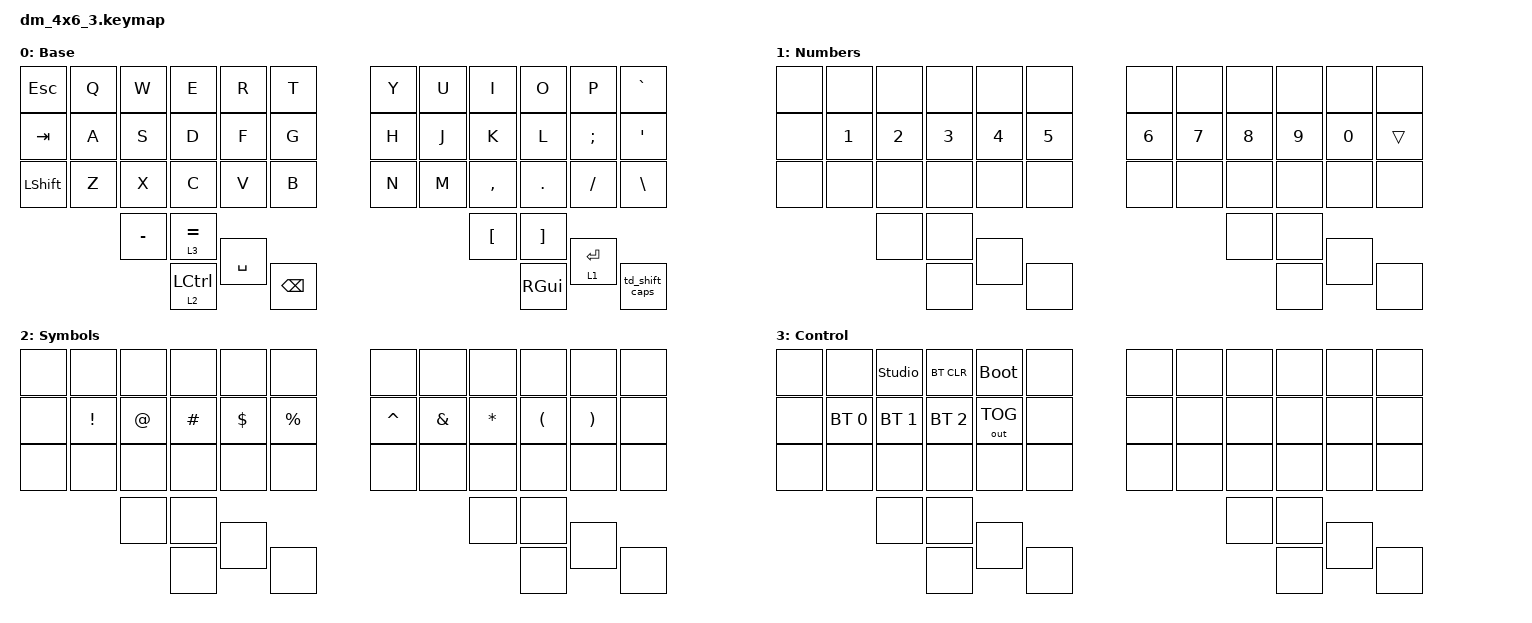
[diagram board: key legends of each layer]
#include <behaviors.dtsi>
#include <dt-bindings/zmk/bt.h>
#include <dt-bindings/zmk/ext_power.h>
#include <dt-bindings/zmk/keys.h>
#include <dt-bindings/zmk/outputs.h>

/ {

    behaviors {
        td_shift_caps: tap_dance_0 {
            compatible = "zmk,behavior-tap-dance";
            #binding-cells = <0>;
            tapping-term-ms = <200>;
            bindings = <&kp RSHFT>, <&kp CAPSLOCK>;
        };
    };

    keymap {
        compatible = "zmk,keymap";

        default_layer {
            display-name = "Base";
            bindings = <
&kp ESC     &kp Q       &kp W       &kp E       &kp R       &kp T               &kp Y       &kp U       &kp I       &kp O       &kp P       &kp GRAVE
&kp TAB     &kp A       &kp S       &kp D       &kp F       &kp G               &kp H       &kp J       &kp K       &kp L       &kp SEMI    &kp SQT
&kp LSHFT   &kp Z       &kp X       &kp C       &kp V       &kp B               &kp N       &kp M       &kp COMMA   &kp DOT     &kp FSLH    &kp BSLH
                        &kp MINUS   &lt 3 EQUAL                                                         &kp LBKT    &kp RBKT    
                        &lt 2 LCTRL &kp SPACE  &kp BACKSPACE                    &kp RGUI    &lt 1 ENTER &td_shift_caps
            >;
        };

        number_layer {
            display-name = "Numbers";
            bindings = <
&none       &none       &none       &none       &none       &none         &none       &none       &none       &none       &none       &none
&none       &kp N1      &kp N2      &kp N3      &kp N4      &kp N5        &kp N6      &kp N7      &kp N8      &kp N9      &kp N0      &trans
&none       &none       &none       &none       &none       &none         &none       &none       &none       &none       &none       &none
                        &none       &none                                                         &none       &none       
                        &none       &none    &none                               &none   &none    &none
            >;
        };

        symbol_layer {
            display-name = "Symbols";
            bindings = <
&none       &none       &none       &none       &none       &none         &none       &none             &none           &none           &none           &none
&none       &kp EXCL    &kp AT_SIGN &kp HASH    &kp DOLLAR  &kp PERCENT   &kp CARET   &kp AMPERSAND     &kp ASTERISK    &kp LPAR        &kp RPAR        &none
&none       &none       &none       &none       &none       &none         &none       &none             &none           &none           &none           &none
                        &none       &none                                                               &none           &none     
                        &none       &none    &none                               &none   &none    &none
            >;
        };

        control_layer {
            display-name = "Control";
            bindings = <
&none       &none       &studio_unlock       &bt BT_CLR       &bootloader &none         &none       &none       &none       &none       &none       &none
&none     &bt BT_SEL 0  &bt BT_SEL 1 &bt BT_SEL 2    &out OUT_TOG       &none         &none       &none       &none       &none       &none       &none
&none       &none       &none       &none       &none       &none              &none       &none       &none       &none       &none       &none
                        &none       &none                                                               &none       &none       
                        &none       &none    &none                                  &none   &none    &none
            >;
        };

        extra1 {
            status = "reserved";
        };
    };
};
